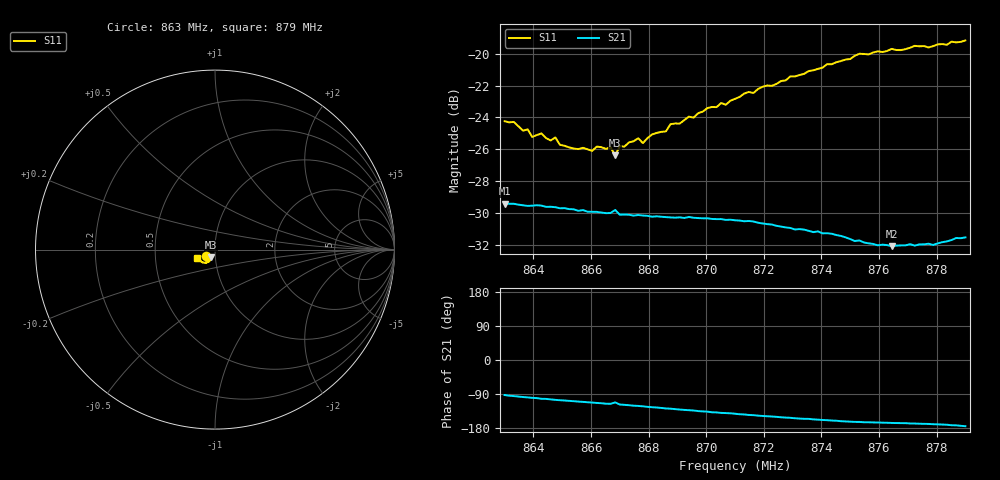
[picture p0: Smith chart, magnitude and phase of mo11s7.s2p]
# HZ S RI R 50
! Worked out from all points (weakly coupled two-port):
!   101 points, 863 MHz to 879 MHz, reference 50 ohm
!   highest |S21| = -29.41 dB at 863 MHz (marker M1); lowest = -32.1 dB at 876.44 MHz (marker M2)
!   lowest |S11| = -26.4 dB at 866.84 MHz (marker M3), VSWR 1.10, Z = 47.8 - j4.14 ohm
!   |S11| at or under -10 dB: start of sweep to end of sweep
!   S12 and S22 are empty: the file has one direction only
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8.63e8  -0.0487 -0.0374  -0.00145 -0.0338  0 0  0 0
8.638e8  -0.0446 -0.0369  -0.00501 -0.0329  0 0  0 0
8.6396e8  -0.042 -0.0352  -0.00576 -0.0328  0 0  0 0
8.6428e8  -0.0419 -0.0375  -0.00714 -0.0326  0 0  0 0
8.646e8  -0.0385 -0.037  -0.008 -0.0321  0 0  0 0
8.6476e8  -0.0391 -0.0381  -0.00866 -0.0318  0 0  0 0
8.6492e8  -0.0366 -0.0367  -0.00908 -0.0314  0 0  0 0
8.6572e8  -0.0316 -0.0396  -0.0113 -0.0303  0 0  0 0
8.6668e8  -0.0285 -0.0422  -0.0137 -0.0285  0 0  0 0
8.6684e8  -0.0208 -0.0432  -0.0121 -0.03  0 0  0 0
8.67e8  -0.0272 -0.0435  -0.0144 -0.0277  0 0  0 0
8.6764e8  -0.0262 -0.0476  -0.0162 -0.0267  0 0  0 0
8.678e8  -0.0252 -0.046  -0.0166 -0.0263  0 0  0 0
8.6844e8  -0.0255 -0.0508  -0.0183 -0.0247  0 0  0 0
8.686e8  -0.0239 -0.0518  -0.0188 -0.0242  0 0  0 0
8.6876e8  -0.0257 -0.0543  -0.0191 -0.024  0 0  0 0
8.71e8  -0.033 -0.0642  -0.0236 -0.0186  0 0  0 0
8.7372e8  -0.0501 -0.0733  -0.0253 -0.0109  0 0  0 0
8.7532e8  -0.0691 -0.0723  -0.0249 -0.00741  0 0  0 0
8.7644e8  -0.0806 -0.065  -0.0242 -0.00597  0 0  0 0
8.7788e8  -0.0903 -0.0549  -0.0247 -0.00458  0 0  0 0
8.79e8  -0.0994 -0.0475  -0.0264 -0.00246  0 0  0 0
